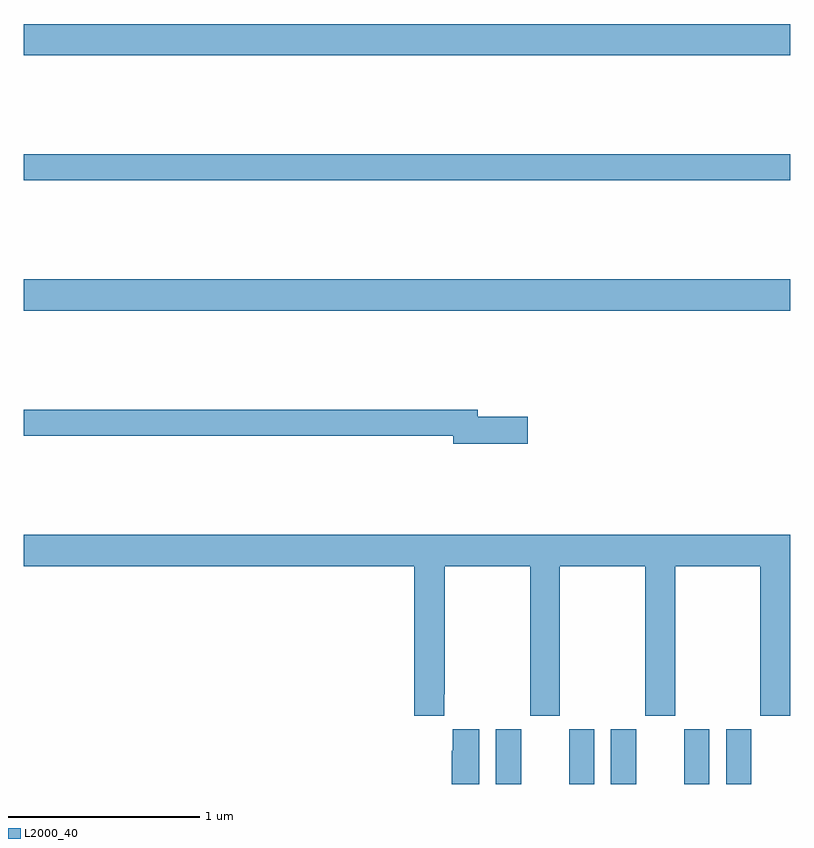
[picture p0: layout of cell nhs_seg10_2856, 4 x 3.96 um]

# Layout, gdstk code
import gdstk
lib = gdstk.Library(unit=1e-6, precision=1e-09)
def R(c, l, rs):  # rectangles x0, y0, x1, y1
    for r in rs: c.add(gdstk.rectangle(r[:2], r[2:], *l))
def P(c, l, *ps):  # polygons
    for p in ps: c.add(gdstk.Polygon(p, *l))
L2000_40 = (2000, 40)

nhs_seg10_2856 = lib.new_cell('nhs_seg10_2856')
R(nhs_seg10_2856, L2000_40, [(267.464,1312.5,267.595,1312.786), (267.845,1312.5,267.976,1312.786), (268.064,1312.5,268.195,1312.786), (268.445,1312.5,268.576,1312.786), (268.664,1312.5,268.795,1312.786), (265,1314.968,269,1315.132), (265,1315.648,269,1315.784), (265,1316.3,269,1316.464)])
P(nhs_seg10_2856, L2000_40, [(267.631,1314.416),(267.37,1314.416),(267.37,1314.452),(265,1314.452),(265,1314.316),(267.242,1314.316),(267.242,1314.274),(267.631,1314.274)],
  [(267.193,1312.969),(267.198,1312.969),(267.198,1313.636),(267.643,1313.636),(267.643,1312.857),(267.798,1312.857),(267.798,1313.636),(268.243,1313.636),(268.243,1312.857),(268.398,1312.857),(268.398,1313.636),(268.843,1313.636),(268.843,1312.857),(268.998,1312.857),(268.998,1313.636),(269,1313.636),(269,1313.8),(265,1313.8),(265,1313.636),(267.038,1313.636),(267.038,1312.857),(267.193,1312.857)],
  [(267.376,1312.786),(267.239,1312.786),(267.239,1312.673),(267.233,1312.673),(267.233,1312.5),(267.376,1312.5)])

lib.write_gds('nhs_seg10_2856.gds')
